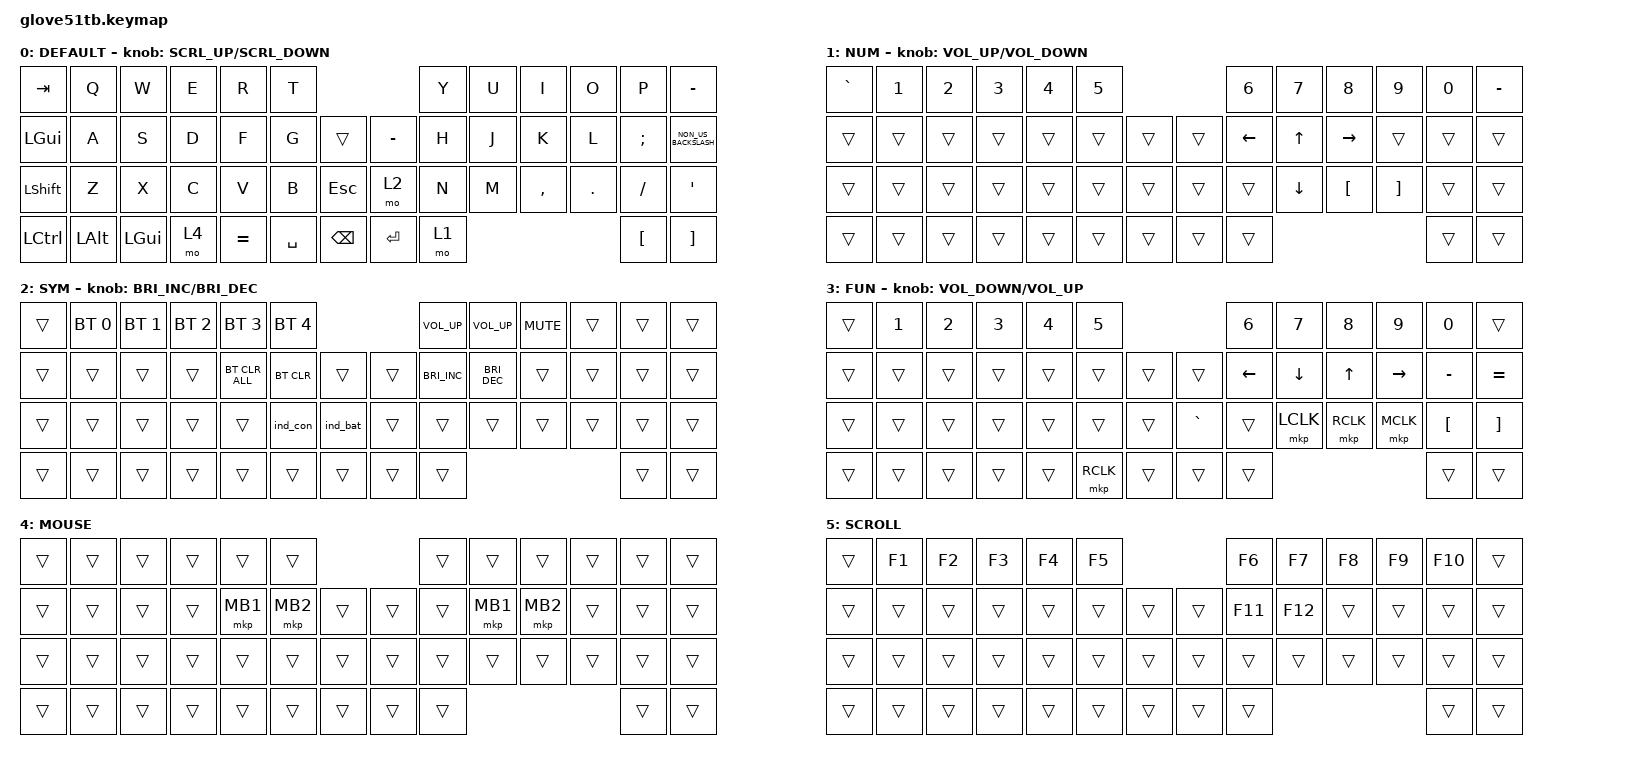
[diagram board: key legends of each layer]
#define ZMK_POINTING_DEFAULT_SCRL_VAL 150

#include <behaviors/rgbled_widget.dtsi>
#include <dt-bindings/zmk/input_transform.h>
#include <input/processors.dtsi>
#include <zephyr/dt-bindings/input/input-event-codes.h>
#include <behaviors.dtsi>
#include <dt-bindings/zmk/bt.h>
#include <dt-bindings/zmk/keys.h>
#include <dt-bindings/zmk/pointing.h>

// Layer Numbering

#define DEFAULT 0
#define NUM     1
#define SYM     2
#define FUN     3
#define MOUSE   4
#define SCROLL  5

&mmv {
    delay-ms = <20>;
    trigger-period-ms = <5>;
    time-to-max-speed-ms = <100>;
    acceleration-exponent = <2>;
};

&msc {
    delay-ms = <3>;
    trigger-period-ms = <3>;
    time-to-max-speed-ms = <100>;
    acceleration-exponent = <0>;
};

/ {
    input_processors {
        zip_wheel_scaler: zip_wheel_scaler {
            compatible = "zmk,input-processor-scaler";
            #input-processor-cells = <2>;
            type = <INPUT_EV_REL>;
            codes = <INPUT_REL_WHEEL>;
            track-remainders;
        };
    };
};

/ {
    combos {
        compatible = "zmk,combos";

        scroll {
            bindings = <&mo 5>;
            key-positions = <35 36>;
        };
    };

    behaviors {
        sensor_rotate_kp: sensor_rotate_kp {
            compatible = "zmk,behavior-sensor-rotate-var";
            #sensor-binding-cells = <2>;
            bindings = <&kp>, <&kp>;
        };

        mouse_wheel_scroll: mouse_wheel_scroll {
            compatible = "zmk,behavior-sensor-rotate-var";
            #sensor-binding-cells = <2>;
            bindings = <&msc>, <&msc>;

            tap-ms = <20>;
        };
    };

    keymap {
        compatible = "zmk,keymap";

        default_layer {
            label = "DEFAULT";
            bindings = <
&kp TAB           &kp Q         &kp W         &kp E  &kp R      &kp T                                &kp Y  &kp U  &kp I      &kp O    &kp P             &kp MINUS
&kp LEFT_GUI      &kp A         &kp S         &kp D  &kp F      &kp G      &trans         &kp MINUS  &kp H  &kp J  &kp K      &kp L    &kp SEMI          &kp NON_US_BACKSLASH
&kp LEFT_SHIFT    &kp Z         &kp X         &kp C  &kp V      &kp B      &kp ESC        &mo 2      &kp N  &kp M  &kp COMMA  &kp DOT  &kp FSLH          &kp SQT
&kp LEFT_CONTROL  &kp LEFT_ALT  &kp LEFT_GUI  &mo 4  &kp EQUAL  &kp SPACE  &kp BACKSPACE  &kp ENTER  &mo 1                             &kp LEFT_BRACKET  &kp RIGHT_BRACKET
            >;

            sensor-bindings = <&mouse_wheel_scroll SCRL_UP SCRL_DOWN>;
        };

        number_layer {
            label = "NUM";
            bindings = <
&kp GRAVE  &kp NUMBER_1  &kp NUMBER_2  &kp NUMBER_3  &kp N4  &kp N5                  &kp NUMBER_6    &kp N7          &kp N8            &kp N9             &kp N0  &kp MINUS
&trans     &trans        &trans        &trans        &trans  &trans  &trans  &trans  &kp LEFT_ARROW  &kp UP_ARROW    &kp RIGHT_ARROW   &trans             &trans  &trans
&trans     &trans        &trans        &trans        &trans  &trans  &trans  &trans  &trans          &kp DOWN_ARROW  &kp LEFT_BRACKET  &kp RIGHT_BRACKET  &trans  &trans
&trans     &trans        &trans        &trans        &trans  &trans  &trans  &trans  &trans                                                               &trans  &trans
            >;

            sensor-bindings = <&inc_dec_kp K_VOLUME_UP K_VOLUME_DOWN>;
        };

        symbol_layer {
            label = "SYM";
            bindings = <
&trans  &bt BT_SEL 0  &bt BT_SEL 1  &bt BT_SEL 2  &bt BT_SEL 3    &bt BT_SEL 4                    &kp K_VOLUME_UP       &kp K_VOLUME_UP       &kp K_MUTE  &trans  &trans  &trans
&trans  &trans        &trans        &trans        &bt BT_CLR_ALL  &bt BT_CLR    &trans    &trans  &kp C_BRIGHTNESS_INC  &kp C_BRIGHTNESS_DEC  &trans      &trans  &trans  &trans
&trans  &trans        &trans        &trans        &trans          &ind_con      &ind_bat  &trans  &trans                &trans                &trans      &trans  &trans  &trans
&trans  &trans        &trans        &trans        &trans          &trans        &trans    &trans  &trans                                                          &trans  &trans
            >;

            sensor-bindings = <&inc_dec_kp C_BRIGHTNESS_INC C_BRIGHTNESS_DEC>;
        };

        function_layer {
            label = "FUN";
            bindings = <
&trans  &kp NUMBER_1  &kp NUMBER_2  &kp NUMBER_3  &kp NUMBER_4  &kp NUMBER_5                     &kp NUMBER_6    &kp NUMBER_7    &kp NUMBER_8  &kp NUMBER_9     &kp NUMBER_0      &trans
&trans  &trans        &trans        &trans        &trans        &trans        &trans  &trans     &kp LEFT_ARROW  &kp DOWN_ARROW  &kp UP_ARROW  &kp RIGHT_ARROW  &kp MINUS         &kp EQUAL
&trans  &trans        &trans        &trans        &trans        &trans        &trans  &kp GRAVE  &trans          &mkp LCLK       &mkp RCLK     &mkp MCLK        &kp LEFT_BRACKET  &kp RIGHT_BRACKET
&trans  &trans        &trans        &trans        &trans        &mkp RCLK     &trans  &trans     &trans                                                         &trans            &trans
            >;

            sensor-bindings = <&sensor_rotate_kp C_VOLUME_DOWN C_VOLUME_UP>;
        };

        mouse_layer {
            label = "MOUSE";
            bindings = <
&trans  &trans  &trans  &trans  &trans    &trans                    &trans  &trans    &trans    &trans  &trans  &trans
&trans  &trans  &trans  &trans  &mkp MB1  &mkp MB2  &trans  &trans  &trans  &mkp MB1  &mkp MB2  &trans  &trans  &trans
&trans  &trans  &trans  &trans  &trans    &trans    &trans  &trans  &trans  &trans    &trans    &trans  &trans  &trans
&trans  &trans  &trans  &trans  &trans    &trans    &trans  &trans  &trans                              &trans  &trans
            >;
        };

        scroll_layer {
            label = "SCROLL";
            bindings = <
&trans  &kp F1  &kp F2  &kp F3  &kp F4  &kp F5                  &kp F6   &kp F7   &kp F8  &kp F9  &kp F10  &trans
&trans  &trans  &trans  &trans  &trans  &trans  &trans  &trans  &kp F11  &kp F12  &trans  &trans  &trans   &trans
&trans  &trans  &trans  &trans  &trans  &trans  &trans  &trans  &trans   &trans   &trans  &trans  &trans   &trans
&trans  &trans  &trans  &trans  &trans  &trans  &trans  &trans  &trans                            &trans   &trans
            >;
        };
    };
};
